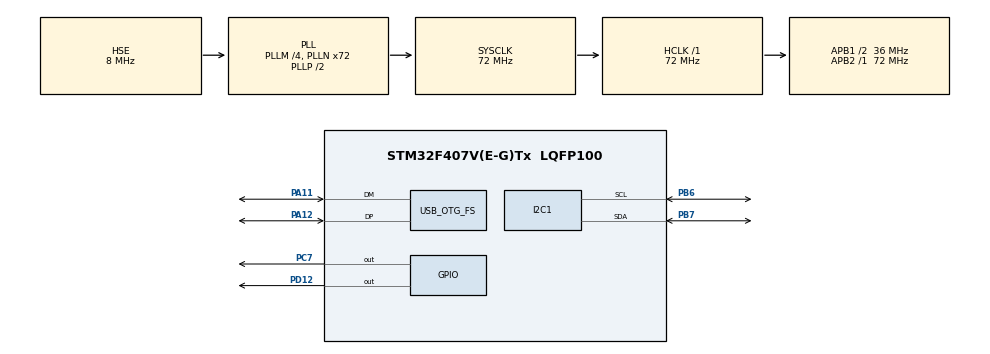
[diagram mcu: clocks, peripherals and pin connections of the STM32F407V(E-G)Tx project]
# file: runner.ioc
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Mcu.Family=STM32F4
Mcu.Name=STM32F407V(E-G)Tx
Mcu.Package=LQFP100
NVIC.OTG_FS_IRQn=true\:0\:0\:false\:false\:true\:false\:true\:true
NVIC.PriorityGroup=NVIC_PRIORITYGROUP_4
PA11.Mode=Device_Only
PA11.Signal=USB_OTG_FS_DM
PA12.Mode=Device_Only
PA12.Signal=USB_OTG_FS_DP
PA13.Mode=Serial_Wire
PA13.Signal=SYS_JTMS-SWDIO
PA14.Mode=Serial_Wire
PA14.Signal=SYS_JTCK-SWCLK
PB6.Mode=I2C
PB6.Signal=I2C1_SCL
PB7.Mode=I2C
PB7.Signal=I2C1_SDA
PC7.GPIO_ModeDefaultOutputPP=GPIO_MODE_OUTPUT_OD
PC7.GPIO_PuPd=GPIO_NOPULL
PC7.PinState=GPIO_PIN_SET
PC7.Signal=GPIO_Output
PD12.Signal=GPIO_Output
PH0-OSC_IN.Mode=HSE-External-Oscillator
PH0-OSC_IN.Signal=RCC_OSC_IN
PH1-OSC_OUT.Mode=HSE-External-Oscillator
PH1-OSC_OUT.Signal=RCC_OSC_OUT
ProjectManager.HeapSize=0x200
ProjectManager.StackSize=0x400
ProjectManager.TargetToolchain=STM32CubeIDE
RCC.48MHZClocksFreq_Value=48000000
RCC.AHBFreq_Value=72000000
RCC.APB1CLKDivider=RCC_HCLK_DIV2
RCC.APB1Freq_Value=36000000
RCC.APB1TimFreq_Value=72000000
RCC.APB2Freq_Value=72000000
RCC.APB2TimFreq_Value=72000000
RCC.CortexFreq_Value=72000000
RCC.HCLKFreq_Value=72000000
RCC.HSE_VALUE=8000000
RCC.HSI_VALUE=16000000
RCC.LSE_VALUE=32768
RCC.PLLM=4
RCC.PLLN=72
RCC.PLLQ=3
RCC.SYSCLKFreq_VALUE=72000000
RCC.SYSCLKSource=RCC_SYSCLKSOURCE_PLLCLK
RCC.VCOOutputFreq_Value=144000000
TIM2.Prescaler=71
TIM4.Prescaler=71
USB_DEVICE.CLASS_NAME_FS=CDC
USB_DEVICE.VirtualMode-CDC_FS=Cdc
USB_DEVICE.VirtualModeFS=Cdc_FS
USB_OTG_FS.VirtualMode=Device_Only
VP_TIM2_VS_ClockSourceINT.Mode=Internal
VP_TIM4_VS_ClockSourceINT.Mode=Internal
VP_USB_DEVICE_VS_USB_DEVICE_CDC_FS.Mode=CDC_FS
board=custom

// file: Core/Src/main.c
/* USER CODE BEGIN Header */
/**
  ******************************************************************************
  * @file           : main.c
  * @brief          : Main program body
  ******************************************************************************
  * @attention
  *
  * Copyright (c) 2026 STMicroelectronics.
  * All rights reserved.
  *
  * This software is licensed under terms that can be found in the LICENSE file
  * in the root directory of this software component.
  * If no LICENSE file comes with this software, it is provided AS-IS.
  *
  ******************************************************************************
  */
/* USER CODE END Header */
#include "main.h"
#include "usb_device.h"

/* USER CODE BEGIN Includes */
#include "usbd_cdc_if.h"

#include "driver_display.h"
#include "driver_display_characters.h"

#include "driver_sensor.h"
/* USER CODE END Includes */

/* USER CODE BEGIN PTD */

typedef enum {
	NAV_MENU,

	NAV_TYPERACER_SETTINGS,
	NAV_TYPERACER_PLAYING,
	NAV_TYPERACER_RESULTS,

	NAV_DINO_PLAYING,
	NAV_DINO_RESULTS,

	NAV_MATH_PLAYING,
	NAV_MATH_RESULTS,

	NAV_SENSOR,
} NavState;

typedef struct {
	bool started;
	bool displayedSelection;
	int gameSelected;
} MenuState;

typedef struct {
	char *name;
	NavState initState;
} MenuGame;

typedef struct {
	bool moving;
	bool overwrite;
	uint8_t text;
} TyperacerSettings;

typedef struct {
	char *text;
	size_t textLength;
	size_t textConsumed;

	int currentShift;
	bool shiftActivated;
	int charactersTyped;
	int hiddenStart;

	bool displayedNewLine;

	int mistakeCount;
} TyperacerState;

typedef struct {
	float speed;

	size_t time_passed;
	size_t time_next;
	size_t time_step;

	size_t time_lastCrouch;
	size_t time_lastJump;
	uint8_t lastState;

	uint16_t pteros;
	uint16_t cacti;

	int pos;
	int frame;
} DinoState;

typedef struct {
	uint8_t task_total;
	uint8_t task_done;
	uint8_t task_correct;

	uint8_t correctAnswer;
	int8_t selection;
	bool displayedTask;
} MathState;

/* USER CODE END PTD */

/* USER CODE BEGIN PD */
extern void initialise_monitor_handles();
/* USER CODE END PD */

/* USER CODE BEGIN PM */

#define min(a, b) ((a) < (b) ? (a) : (b))
#define max(a, b) ((a) > (b) ? (a) : (b))

/* USER CODE END PM */

I2C_HandleTypeDef hi2c1;

TIM_HandleTypeDef htim2;
TIM_HandleTypeDef htim4;

/* USER CODE BEGIN PV */

extern uint8_t CDC_buffer[1024];
extern size_t CDC_index_lo;
extern size_t CDC_index_hi;

/* USER CODE END PV */

void SystemClock_Config(void);
static void MX_GPIO_Init(void);
static void MX_I2C1_Init(void);
static void MX_TIM4_Init(void);
static void MX_TIM2_Init(void);

/* USER CODE BEGIN 0 */

size_t getInputAmount() {
	if(CDC_index_lo <= CDC_index_hi) {
		return (CDC_index_hi - CDC_index_lo);
	}
	else {
		return (sizeof(CDC_buffer) - CDC_index_lo) + (CDC_index_hi);
	}
}

bool tryReadInput(uint8_t *dst, int amount, bool consume) {
	if(getInputAmount() < amount) return false;
	size_t preserve = CDC_index_lo;

	for(int i = 0; i < amount; i++) {
		dst[i] = CDC_buffer[CDC_index_lo];
		CDC_index_lo += 1;

		if(CDC_index_lo >= sizeof(CDC_buffer)) {
			CDC_index_lo = 0;
		}
	}

	if(!consume) {
		CDC_index_lo = preserve;
	}

	return true;
}

/* USER CODE END 0 */

int main(void)
{

  /* MCU Configuration--------------------------------------------------------*/

  /* Reset of all peripherals, Initializes the Flash interface and the Systick. */
  HAL_Init();

  /* USER CODE BEGIN Init */
  //initialise_monitor_handles();
  /* USER CODE END Init */

  /* Configure the system clock */
  SystemClock_Config();

  /* Initialize all configured peripherals */
  MX_GPIO_Init();
  MX_I2C1_Init();
  MX_TIM4_Init();
  MX_USB_DEVICE_Init();
  MX_TIM2_Init();
  /* USER CODE BEGIN 2 */
  HAL_Delay(500);

  Display display = {
		.config = {
		  	.twoLinesInsteadOfOne = true,
		  	.tallFont = false,

		  	.displayOn = true,
		  	.cursorVisible = true,
		  	.cursorBlinking = true,

		  	.incrementInsteadOfDecrement = true,
		  	.shiftOnEntry = false
		 },
		.handle = &hi2c1,
    	.backlight = true,
  };

  display_init(&display);

  Sensor sensor = {
		.gpiox = GPIOC,
		.pin = GPIO_PIN_7,
		.timer = &htim4
  };
  HAL_TIM_Base_Start(sensor.timer);
  HAL_TIM_Base_Start(&htim2);

  NavState navState = NAV_MENU;

  TyperacerSettings settings_tr = {
		  .moving = false,
		  .overwrite = true,
		  .text = 0xff,
  };
  TyperacerState state_tr = {0};
  DinoState state_dino = {0};
  MathState state_math = {0};
  MenuState state_menu = {0};

  display_setCustomGlyph(&display, DISPLAY_CUSTOM_0, DISPLAY_GLYPH(0b10101, 0b01010, 0b10101, 0b01010, 0b10101, 0b01010, 0b10101));

  char *texts[] = {
		  "Once upon a time, a LEGEND was whispered among shadows. "
		  "It was a LEGEND of HOPE. "
		  "It was a LEGEND of DREAMS. "
		  "It was a LEGEND of LIGHT. "
		  "It was a LEGEND of DARK. "
		  "This is the legend of DELTA RUNE.",

		  "Born into a world without anime, "
		  "Where the sun doesn't shine, there's no sanity. "
		  "We are left alone with these killing machines. "
		  "We have no home, we have no dreams. "
		  "Crushed under the weight of the mechanical demon, "
		  "We are victims of fate from the power of semen.",

		  "I think Skyblock at its core is the ultimate challenge in resource management. "
		  "You spawn on a tiny island in an empty universe. "
		  "All you have is a tree, some supplies and some dirt to stand on. "
		  "You have to treasure EVERY dirt block, because if one falls into the void, "
		  "there's no way to replace it and as you carefully navigate your absurd circumstance, "
		  "you gain a new appreciation for the few things you have as you meticulously use them to their fullest effect. "
		  "With nothing but some ice, lava and saplings you slowly transform this empty expanse into a world of your very own. "
		  "Skyblock teaches us that no matter how ridiculous the odds may seem, "
		  "within us resides the power to overcome these challenges and achieve something beautiful. "
		  "That one day, we'll look back at where we started and be amazed "
		  	  "by how far we've come.",

		  "amogus sus sus amogus amogus sus sus amogus",

		  "I've seen your kind, time and time again. "
		  "Every fleeing man must be caught. Every secret must be unearthed. "
		  "Such is the conceit of the self-proclaimed seeker of truth. "
		  "But in the end, you lack the stomach. "
		  "For the agony you'll bring upon yourself...",
  };

  MenuGame games[] = {
		  {
				.name = "Typeracer",
				.initState = NAV_TYPERACER_PLAYING,
		  },
		  {
				.name = "Dinosaur",
				.initState = NAV_DINO_PLAYING,
		  },
		  {
				.name = "Math quiz",
				.initState = NAV_MATH_PLAYING,
		  },
		  {
				.name = "Sensor",
				.initState = NAV_SENSOR,
		  },
  };
  int gameCount = sizeof(games) / sizeof(MenuGame);

  bool firstState = true;

  /* USER CODE END 2 */

  /* Infinite loop */
  /* USER CODE BEGIN WHILE */
  while (1)
  {
	  bool justChangedState = firstState;
	  firstState = false;

#define CHANGE_STATE(state) do { \
		  navState = state; \
		  justChangedState = true; \
		  goto changeState; \
  } while(0)

	  char input;

	  char buffer[256];
	  int len;

	  if(tryReadInput(&input, 1, false) && input == '\e') {
		  CHANGE_STATE(NAV_MENU);
	  }

	  changeState:
	  switch(navState) {
	  case NAV_MENU:
		  if(justChangedState) {
			  display_instruction_displayOnOffControl(&display, true, false, false);
			  state_menu.displayedSelection = false;
		  }

		  if(!state_menu.displayedSelection) {
			  display_instruction_clearDisplay(&display);

			  if(!state_menu.started) {
				  len = sprintf(buffer, "AbobaGameStation");
	  			  display_instruction_setDisplayRamAddress(&display, DISPLAY_LINE_0_MIN);
	  			  display_writeString(&display, buffer, len);
				  len = sprintf(buffer, "<SPACE> TO START");
	  			  display_instruction_setDisplayRamAddress(&display, DISPLAY_LINE_1_MIN);
	  			  display_writeString(&display, buffer, len);
			  }
			  else {
				  len = sprintf(buffer, "%s", games[state_menu.gameSelected]);
	  			  display_instruction_setDisplayRamAddress(&display, DISPLAY_LINE_0_MIN);
	  			  display_writeString(&display, buffer, len);
				  len = sprintf(buffer, "  <    %d/%d   >  ", state_menu.gameSelected + 1, gameCount);
	  			  display_instruction_setDisplayRamAddress(&display, DISPLAY_LINE_1_MIN);
	  			  display_writeString(&display, buffer, len);
			  }

			  state_menu.displayedSelection = true;
		  }

		  if(!tryReadInput((uint8_t *)&input, 1, true)) continue;

		  if(!state_menu.started) {
			  if(input == ' ') {
				  state_menu.started = true;

				  // TODO: animation

				  state_menu.displayedSelection = false;
			  }

			  continue;
		  }

		  if(0){}
		  else if(input == '<') {
			  state_menu.gameSelected -= 1;
			  state_menu.displayedSelection = false;
		  }
		  else if(input == '>') {
			  state_menu.gameSelected += 1;
			  state_menu.displayedSelection = false;
		  }
		  else if(input == ' ') {
			  CHANGE_STATE(games[state_menu.gameSelected].initState);
		  }

		  if(state_menu.gameSelected < 0) {
			  state_menu.gameSelected += gameCount;
		  }
		  else if(state_menu.gameSelected >= gameCount) {
			  state_menu.gameSelected -= gameCount;
		  }
		  break;
	  case NAV_TYPERACER_PLAYING:
  		  if(justChangedState) {
			  srand(__HAL_TIM_GET_COUNTER(&htim2));

  			  if(settings_tr.moving && settings_tr.overwrite) {
  				  settings_tr.overwrite = false;
  			  }

  			 __HAL_TIM_SET_COUNTER(&htim2, 0);

			  display_instruction_displayOnOffControl(&display, true, true, true);
			  display_instruction_entryModeSet(&display, true, false);

  			  state_tr = (TyperacerState){0};

  			  if(settings_tr.text == 0xff) {
  				  state_tr.text = texts[rand() % (sizeof(texts) / sizeof(char *))];
  			  }
  			  else {
  				  state_tr.text = texts[settings_tr.text];
  			  }

  			  state_tr.textLength = strlen(state_tr.text);

  			  if(settings_tr.moving) {
  				  display_instruction_setDisplayRamAddress(&display, DISPLAY_LINE_0_MIN);
  				  display_writeString(&display, state_tr.text, min(state_tr.textLength, DISPLAY_LINE_LEN));
  				  state_tr.textConsumed += min(state_tr.textLength, DISPLAY_LINE_LEN);

  				  display_instruction_setDisplayRamAddress(&display, DISPLAY_LINE_1_MIN);
  			  }
  		  }

  		  if(state_tr.charactersTyped >= state_tr.textLength) {
  			  CHANGE_STATE(NAV_TYPERACER_RESULTS);
  		  }

  		  if(!settings_tr.moving && !state_tr.displayedNewLine) {
  			  state_tr.displayedNewLine = true;

			  display_instruction_clearDisplay(&display);

			  len = sprintf(buffer, "[%-.*s]", DISPLAY_VISIBLE_LINE_LEN - 2, &state_tr.text[state_tr.textConsumed]);
  			  display_instruction_setDisplayRamAddress(&display, DISPLAY_LINE_0_MIN);
  			  display_writeString(&display, buffer, len);

			  state_tr.textConsumed += (DISPLAY_VISIBLE_LINE_LEN - 2);
			  if(state_tr.textConsumed > state_tr.textLength) {
				  state_tr.textConsumed = state_tr.textLength;
			  }

			  len = sprintf(buffer, "[%-*s]", DISPLAY_VISIBLE_LINE_LEN - 2, "");
  			  display_instruction_setDisplayRamAddress(&display, DISPLAY_LINE_1_MIN);
  			  display_writeString(&display, buffer, len);

  			  display_instruction_setDisplayRamAddress(&display, DISPLAY_LINE_1_MIN + 1);
  		  }

		  while(tryReadInput(&input, 1, true)) {
		  		  if(state_tr.charactersTyped == state_tr.textLength) {
		  			  break;
		  		  }

		  		  if(input != state_tr.text[state_tr.charactersTyped]) {
		  			  state_tr.mistakeCount += 1;
		  			  continue;
		  		  }

		  		  display_writeChar(&display, input);
		  		  state_tr.charactersTyped += 1;

		  		  if(settings_tr.moving) {
		  			  if(state_tr.charactersTyped % DISPLAY_LINE_LEN == 0) {
						  display_instruction_setDisplayRamAddress(&display, DISPLAY_LINE_1_MIN);
					  }

					  if(state_tr.shiftActivated) {
						  state_tr.currentShift += 1;
						  state_tr.currentShift %= DISPLAY_LINE_LEN;
					  }

					  if((state_tr.currentShift + DISPLAY_VISIBLE_LINE_LEN) % DISPLAY_LINE_LEN == state_tr.hiddenStart) {
						  int len = DISPLAY_LINE_LEN - DISPLAY_VISIBLE_LINE_LEN;

						  display_instruction_entryModeSet(&display, true, false);

						  {
							  int textRemaining = state_tr.textLength - state_tr.textConsumed;
							  int textLength = min(len, textRemaining);
							  int spaceLength = len - textLength;
							  display_writeStringOnLine(&display, 0, state_tr.hiddenStart, &state_tr.text[state_tr.textConsumed], textLength);
							  state_tr.textConsumed += textLength;
							  int pos = (state_tr.hiddenStart + textLength) % DISPLAY_LINE_LEN;
							  for(int i = 0; i < spaceLength; i++)  {
								  pos = display_writeCharOnLine(&display, 0, pos, ' ', true);
							  }
						  }

						  int pos = state_tr.hiddenStart;
						  display_instruction_setDisplayRamAddress(&display, pos + DISPLAY_LINE_1_MIN);
						  for(int i = 0; i < len; i++)  {
							  pos = display_writeCharOnLine(&display, 1, pos, ' ', true);
						  }

						  display_instruction_setDisplayRamAddress(&display, (state_tr.charactersTyped % DISPLAY_LINE_LEN) + DISPLAY_LINE_1_MIN);

						  display_instruction_entryModeSet(&display, true, state_tr.shiftActivated);
						  state_tr.hiddenStart = state_tr.currentShift;
						  state_tr.hiddenStart %= DISPLAY_LINE_LEN;
					  }

					  if(!state_tr.shiftActivated && state_tr.charactersTyped > 4) {
						  state_tr.shiftActivated = true;

						  display_instruction_entryModeSet(&display, true, state_tr.shiftActivated);
					  }
		  		  }
		  		  else {
#define OVERWRITE_DELAY 2
		  			  if(settings_tr.overwrite && state_tr.textConsumed < state_tr.textLength && state_tr.charactersTyped > OVERWRITE_DELAY) {
		  				  int index = (state_tr.currentShift - OVERWRITE_DELAY + (DISPLAY_VISIBLE_LINE_LEN - 2)) % (DISPLAY_VISIBLE_LINE_LEN - 2);

	  		  			  display_instruction_setDisplayRamAddress(&display, DISPLAY_LINE_0_MIN + 1 + index);
	  		  			  display_writeChar(&display, state_tr.text[state_tr.textConsumed]);
	  		  			  state_tr.textConsumed += 1;

	  		  			  display_instruction_setDisplayRamAddress(&display, DISPLAY_LINE_1_MIN + 2 + state_tr.currentShift);
		  			  }

		  			  state_tr.currentShift += 1;

		  			  if(state_tr.currentShift >= (DISPLAY_VISIBLE_LINE_LEN - 2)) {
		  				  state_tr.currentShift = 0;

		  				  if(!settings_tr.overwrite) {
			  				  state_tr.displayedNewLine = false;
		  				  }
		  				  else {
		  					  len = sprintf(buffer, "[%-*s]", DISPLAY_VISIBLE_LINE_LEN - 2, "");
		  		  			  display_instruction_setDisplayRamAddress(&display, DISPLAY_LINE_1_MIN);
		  		  			  display_writeString(&display, buffer, len);

		  		  			  display_instruction_setDisplayRamAddress(&display, DISPLAY_LINE_1_MIN + 1);
		  				  }
		  			  }
		  		  }

		  	  }
		  break;
	  case NAV_TYPERACER_RESULTS:
		  if(justChangedState) {
			  display_instruction_clearDisplay(&display);
			  display_instruction_entryModeSet(&display, true, false);
			  display_instruction_displayOnOffControl(&display, true, false, false);

			  int time = __HAL_TIM_GET_COUNTER(&htim2);

			  int sec = time / 1000000;
			  int sec_decimal = (time - (sec * 1000000)) / 100000;

			  len = sprintf(buffer, "GG! Time: %d.%ds", sec, sec_decimal);
  			  display_instruction_setDisplayRamAddress(&display, DISPLAY_LINE_0_MIN);
  			  display_writeString(&display, buffer, len);
			  len = sprintf(buffer, "Mistakes: %d", state_tr.mistakeCount);
  			  display_instruction_setDisplayRamAddress(&display, DISPLAY_LINE_1_MIN);
  			  display_writeString(&display, buffer, len);
		  }

		  if(!tryReadInput(&input, 1, true)) continue;

		  if(input == ' ') {
			  CHANGE_STATE(NAV_MENU);
		  }

		  break;

#define DINO_RUNNING_1 0b10110101
#define DINO_RUNNING_2 0b11001000

#define DINO_JUMPING   0b10110110

#define DINO_CROUCHING 0b11011101

#define DINO_CACTUS    0b10110111
#define DINO_PTERO     0b11101010

	  case NAV_DINO_PLAYING:
		  if(justChangedState) {
			  srand(__HAL_TIM_GET_COUNTER(&htim2));

	  		  __HAL_TIM_SET_COUNTER(&htim2, 0);
			  state_dino = (DinoState){
				  .speed = 1,

				  .time_passed = 0,
				  .time_next = 0,
				  .time_step = 1000,

				  .lastState = DINO_RUNNING_1,

				  .pos = 0,
				  .frame = 0,
			  };

			  display_instruction_clearDisplay(&display);
			  display_instruction_entryModeSet(&display, true, false);
			  display_instruction_displayOnOffControl(&display, true, false, false);
		  }

		  size_t time = __HAL_TIM_GET_COUNTER(&htim2) / 1000;

		  bool hasInput = tryReadInput(&input, 1, true);
		  if(hasInput) {
			  if(input == ' ' && (time - state_dino.time_lastJump > 3500) && (time - state_dino.time_lastCrouch > 500)) {
				  state_dino.time_lastJump = time;
			  }
			  else if(input == 'c' &&  (time - state_dino.time_lastJump > 3500)) {
				  state_dino.time_lastCrouch = time;
			  }
		  }

		  if(state_dino.time_next > time) continue;

		  state_dino.frame += 1;

		  state_dino.time_next += state_dino.time_step;

		  display_writeCharOnLine(&display, 0, state_dino.pos, ' ', false);
		  display_writeCharOnLine(&display, 1, state_dino.pos, ' ', false);

		  state_dino.pteros >>= 1;
		  state_dino.cacti >>= 1;

		  if((state_dino.cacti & 0b1000) && state_dino.lastState != DINO_JUMPING) {
			  CHANGE_STATE(NAV_DINO_RESULTS);
		  }

		  if((state_dino.pteros & 0b1000) && state_dino.lastState != DINO_CROUCHING) {
			  CHANGE_STATE(NAV_DINO_RESULTS);
		  }

		  if(time - state_dino.time_lastJump < 3000) {
			  if(state_dino.lastState == DINO_RUNNING_1) {
				  display_writeCharOnLine(&display, 1, state_dino.pos + 3, ' ', false);
			  }

			  state_dino.lastState = DINO_JUMPING;
			  display_writeCharOnLine(&display, 0, state_dino.pos + 3, ' ', false);
			  state_dino.pos = (state_dino.pos + 1) % DISPLAY_LINE_LEN;
			  display_instruction_cursorOrDisplayShift(&display, true, false);
			  display_writeCharOnLine(&display, 0, state_dino.pos + 3, DINO_JUMPING, false);
		  }
		  else if(time - state_dino.time_lastCrouch < 200) {
			  if(state_dino.lastState == DINO_JUMPING) {
				  display_writeCharOnLine(&display, 0, state_dino.pos + 3, ' ', false);
			  }

			  state_dino.lastState = DINO_CROUCHING;
			  display_writeCharOnLine(&display, 1, state_dino.pos + 3, ' ', false);
			  state_dino.pos = (state_dino.pos + 1) % DISPLAY_LINE_LEN;
			  display_instruction_cursorOrDisplayShift(&display, true, false);
			  display_writeCharOnLine(&display, 1, state_dino.pos + 3, DINO_CROUCHING, false);
		  }
		  else {
			  if(state_dino.lastState == DINO_JUMPING) {
				  display_writeCharOnLine(&display, 0, state_dino.pos + 3, ' ', false);
			  }

			  state_dino.lastState = DINO_RUNNING_1;
			  display_writeCharOnLine(&display, 1, state_dino.pos + 3, ' ', false);
			  state_dino.pos = (state_dino.pos + 1) % DISPLAY_LINE_LEN;
			  display_instruction_cursorOrDisplayShift(&display, true, false);
			  display_writeCharOnLine(&display, 1, state_dino.pos + 3, state_dino.frame % 2 == 0 ? DINO_RUNNING_1 : DINO_RUNNING_2, false);
		  }

		  // TODO: this often results in unwinnable situations
		  {
			  bool cactus = (rand() % 100) < 7;
			  if(cactus) {
				  display_writeCharOnLine(&display, 1, state_dino.pos + 15, DINO_CACTUS, false);
				  state_dino.cacti  |= 0b1000000000000000;
			  }

			  bool ptero = (rand() % 100) < 7;
			  if(ptero && !cactus) {
				  display_writeCharOnLine(&display, 0, state_dino.pos + 15, DINO_PTERO, false);
				  state_dino.pteros |= 0b1000000000000000;
			  }
		  }

		  break;

	  case NAV_DINO_RESULTS:
		  if(justChangedState) {
			  display_writeStringOnLine(&display, 0, state_dino.pos + 15 - 4, " GAME", 5);
			  display_writeStringOnLine(&display, 1, state_dino.pos + 15 - 4, " OVER", 5);
		  }

		  if(!tryReadInput(&input, 1, true)) continue;

		  if(input == ' ') {
			  CHANGE_STATE(NAV_MENU);
		  }

		  break;

	  case NAV_MATH_PLAYING:
		  if(justChangedState) {
			  srand(__HAL_TIM_GET_COUNTER(&htim2));

	  		  __HAL_TIM_SET_COUNTER(&htim2, 0);

			  display_instruction_entryModeSet(&display, true, false);
			  display_instruction_displayOnOffControl(&display, true, true, true);

			  state_math = (MathState){
				  .task_total = 5,
			  };
		  }

		  if(state_math.task_done >= state_math.task_total) {
			  CHANGE_STATE(NAV_MATH_RESULTS);
		  }

#define MATH_SUM 0
#define MATH_SUB 1
#define MATH_MUL 2
#define MATH_DIV 3

		  char opChars[4] = "+-*/";

		  if(!state_math.displayedTask) {
			  state_math.displayedTask = true;

			  int op1, op2, a, b, c, x, y;

			  while(true) {
				  op1 = rand() % 4;
				  op2 = rand() % 4;

				  a = rand() % 100;
				  b = rand() % 100;
				  c = rand() % 100;

				  if((op2 / 2) > (op1 / 2)) {
					  switch(op2) {
					  case MATH_SUM: y = b + c; break;
					  case MATH_SUB: y = b - c; break;
					  case MATH_MUL: y = b * c; break;
					  case MATH_DIV: if(c == 0) continue; y = b / c; if(c * y != b) continue; break;
					  }

					  switch(op1) {
					  case MATH_SUM: x = a + y; break;
					  case MATH_SUB: x = a - y; break;
					  case MATH_MUL: x = a * y; break;
					  case MATH_DIV: if(y == 0) continue; x = a / y; if(y * x != a) continue; break;
					  }
				  }
				  else {
					  switch(op1) {
					  case MATH_SUM: y = a + b; break;
					  case MATH_SUB: y = a - b; break;
					  case MATH_MUL: y = a * b; break;
					  case MATH_DIV: if(b == 0) continue; y = a / b; if(b * y != a) continue; break;
					  }

					  switch(op2) {
					  case MATH_SUM: x = y + c; break;
					  case MATH_SUB: x = y - c; break;
					  case MATH_MUL: x = y * c; break;
					  case MATH_DIV: if(c == 0) continue; x = y / c; if(c * x != y) continue; break;
					  }
				  }

				  if(x < 0) continue;
				  if(x < 1000) break;
			  }

			  display_instruction_clearDisplay(&display);

			  len = sprintf(buffer, "%d. %d %c %d %c %d", state_math.task_done + 1, a, opChars[op1], b, opChars[op2], c);
  			  display_instruction_setDisplayRamAddress(&display, DISPLAY_LINE_0_MIN);
  			  display_writeString(&display, buffer, len);

  			  state_math.correctAnswer = rand() % 4;
  			  int answers[4] = {0};
  			  answers[state_math.correctAnswer] = x;

  			  for(int i = 0; i < 4; i++) {
  				  if(i == state_math.correctAnswer) {
  					  len = sprintf(buffer, "%d", x);
  		  			  display_instruction_setDisplayRamAddress(&display, DISPLAY_LINE_1_MIN + i * 4);
  		  			  display_writeString(&display, buffer, len);
  		  			  continue;
  				  }

  				  while(true) {
  					  loopmath:
  					  y = x + ((rand() % 150) - 75);
  					  if(y == x) continue;
  					  if(y >= 1000) continue;
  					  if(y < 0) continue;
  					  for(int j = 0; j < i; j++) {
  						  if(answers[j] == y) goto loopmath;
  					  }

  					  answers[i] = y;

  					  len = sprintf(buffer, "%d", y);
  		  			  display_instruction_setDisplayRamAddress(&display, DISPLAY_LINE_1_MIN + i * 4);
  		  			  display_writeString(&display, buffer, len);

  		  			  break;
  				  }
  			  }

  			  display_instruction_setDisplayRamAddress(&display, DISPLAY_LINE_1_MIN);
  			  state_math.selection = 0;
		  }

		  if(!tryReadInput(&input, 1, true)) continue;

		  if(input == ' ') {
			  state_math.displayedTask = false;

			  state_math.task_done += 1;
			  state_math.task_correct += (state_math.correctAnswer == state_math.selection);
		  }
		  else if(input == '<') {
			  state_math.selection -= 1;
		  }
		  else if(input == '>') {
			  state_math.selection += 1;
		  }

		  if(state_math.selection < 0) state_math.selection += 4;
		  if(state_math.selection >= 4) state_math.selection -= 4;

		  display_instruction_setDisplayRamAddress(&display, DISPLAY_LINE_1_MIN + state_math.selection * 4);

		  break;

	  case NAV_MATH_RESULTS:
		  if(justChangedState) {
			  display_instruction_clearDisplay(&display);
			  display_instruction_entryModeSet(&display, true, false);
			  display_instruction_displayOnOffControl(&display, true, false, false);

			  int time = __HAL_TIM_GET_COUNTER(&htim2);

			  int sec = time / 1000000;
			  int sec_decimal = (time - (sec * 1000000)) / 100000;

			  len = sprintf(buffer, "GG! Time: %d.%ds", sec, sec_decimal);
  			  display_instruction_setDisplayRamAddress(&display, DISPLAY_LINE_0_MIN);
  			  display_writeString(&display, buffer, len);
			  len = sprintf(buffer, "Correct: %d/%d", state_math.task_correct, state_math.task_total);
  			  display_instruction_setDisplayRamAddress(&display, DISPLAY_LINE_1_MIN);
  			  display_writeString(&display, buffer, len);
		  }

		  if(!tryReadInput(&input, 1, true)) continue;

		  if(input == ' ') {
			  CHANGE_STATE(NAV_MENU);
		  }
		  break;

	  case NAV_SENSOR:
		  if(justChangedState) {
			  display_instruction_clearDisplay(&display);
			  display_instruction_entryModeSet(&display, true, false);
			  display_instruction_displayOnOffControl(&display, true, false, false);

			  __HAL_TIM_SET_COUNTER(&htim2, 5000000);

		  }

		  time = __HAL_TIM_GET_COUNTER(&htim2);

		  if(time >= 2000000) {
			  __HAL_TIM_SET_COUNTER(&htim2, 0);

			  int sec = time / 1000000;
			  int sec_decimal = (time - (sec * 1000000)) / 100000;

			  SensorData data;
			  sensor_read(&sensor, &data);
			  len = sprintf(buffer, "Humidity: %d%%", data.rh_integral);
  			  display_instruction_setDisplayRamAddress(&display, DISPLAY_LINE_0_MIN);
  			  display_writeString(&display, buffer, len);
			  len = sprintf(buffer, "Temperature: %dC", data.t_integral);
  			  display_instruction_setDisplayRamAddress(&display, DISPLAY_LINE_1_MIN);
  			  display_writeString(&display, buffer, len);
		  }

		  if(!tryReadInput(&input, 1, true)) continue;

		  if(input == ' ') {
			  CHANGE_STATE(NAV_MENU);
		  }
		  break;
	  }

    /* USER CODE END WHILE */

  }
}

void SystemClock_Config(void)
{
  RCC_OscInitTypeDef RCC_OscInitStruct = {0};
  RCC_ClkInitTypeDef RCC_ClkInitStruct = {0};

  /** Configure the main internal regulator output voltage
  */
  __HAL_RCC_PWR_CLK_ENABLE();
  __HAL_PWR_VOLTAGESCALING_CONFIG(PWR_REGULATOR_VOLTAGE_SCALE1);

  /** Initializes the RCC Oscillators according to the specified parameters
  * in the RCC_OscInitTypeDef structure.
  */
  RCC_OscInitStruct.OscillatorType = RCC_OSCILLATORTYPE_HSE;
  RCC_OscInitStruct.HSEState = RCC_HSE_ON;
  RCC_OscInitStruct.PLL.PLLState = RCC_PLL_ON;
  RCC_OscInitStruct.PLL.PLLSource = RCC_PLLSOURCE_HSE;
  RCC_OscInitStruct.PLL.PLLM = 4;
  RCC_OscInitStruct.PLL.PLLN = 72;
  RCC_OscInitStruct.PLL.PLLP = RCC_PLLP_DIV2;
  RCC_OscInitStruct.PLL.PLLQ = 3;
  if (HAL_RCC_OscConfig(&RCC_OscInitStruct) != HAL_OK)
  {
    Error_Handler();
  }

  /** Initializes the CPU, AHB and APB buses clocks
  */
  RCC_ClkInitStruct.ClockType = RCC_CLOCKTYPE_HCLK|RCC_CLOCKTYPE_SYSCLK
                              |RCC_CLOCKTYPE_PCLK1|RCC_CLOCKTYPE_PCLK2;
  RCC_ClkInitStruct.SYSCLKSource = RCC_SYSCLKSOURCE_PLLCLK;
  RCC_ClkInitStruct.AHBCLKDivider = RCC_SYSCLK_DIV1;
  RCC_ClkInitStruct.APB1CLKDivider = RCC_HCLK_DIV2;
  RCC_ClkInitStruct.APB2CLKDivider = RCC_HCLK_DIV1;

  if (HAL_RCC_ClockConfig(&RCC_ClkInitStruct, FLASH_LATENCY_2) != HAL_OK)
  {
    Error_Handler();
  }
}

static void MX_I2C1_Init(void)
{

  hi2c1.Instance = I2C1;
  hi2c1.Init.ClockSpeed = 100000;
  hi2c1.Init.DutyCycle = I2C_DUTYCYCLE_2;
  hi2c1.Init.OwnAddress1 = 0;
  hi2c1.Init.AddressingMode = I2C_ADDRESSINGMODE_7BIT;
  hi2c1.Init.DualAddressMode = I2C_DUALADDRESS_DISABLE;
  hi2c1.Init.OwnAddress2 = 0;
  hi2c1.Init.GeneralCallMode = I2C_GENERALCALL_DISABLE;
  hi2c1.Init.NoStretchMode = I2C_NOSTRETCH_DISABLE;
  if (HAL_I2C_Init(&hi2c1) != HAL_OK)
  {
    Error_Handler();
  }

}

static void MX_TIM2_Init(void)
{

  TIM_ClockConfigTypeDef sClockSourceConfig = {0};
  TIM_MasterConfigTypeDef sMasterConfig = {0};

  htim2.Instance = TIM2;
  htim2.Init.Prescaler = 71;
  htim2.Init.CounterMode = TIM_COUNTERMODE_UP;
  htim2.Init.Period = 4294967295;
  htim2.Init.ClockDivision = TIM_CLOCKDIVISION_DIV1;
  htim2.Init.AutoReloadPreload = TIM_AUTORELOAD_PRELOAD_DISABLE;
  if (HAL_TIM_Base_Init(&htim2) != HAL_OK)
  {
    Error_Handler();
  }
  sClockSourceConfig.ClockSource = TIM_CLOCKSOURCE_INTERNAL;
  if (HAL_TIM_ConfigClockSource(&htim2, &sClockSourceConfig) != HAL_OK)
  {
    Error_Handler();
  }
  sMasterConfig.MasterOutputTrigger = TIM_TRGO_RESET;
  sMasterConfig.MasterSlaveMode = TIM_MASTERSLAVEMODE_DISABLE;
  if (HAL_TIMEx_MasterConfigSynchronization(&htim2, &sMasterConfig) != HAL_OK)
  {
    Error_Handler();
  }

}

static void MX_TIM4_Init(void)
{

  TIM_ClockConfigTypeDef sClockSourceConfig = {0};
  TIM_MasterConfigTypeDef sMasterConfig = {0};

  htim4.Instance = TIM4;
  htim4.Init.Prescaler = 71;
  htim4.Init.CounterMode = TIM_COUNTERMODE_UP;
  htim4.Init.Period = 65535;
  htim4.Init.ClockDivision = TIM_CLOCKDIVISION_DIV1;
  htim4.Init.AutoReloadPreload = TIM_AUTORELOAD_PRELOAD_DISABLE;
  if (HAL_TIM_Base_Init(&htim4) != HAL_OK)
  {
    Error_Handler();
  }
  sClockSourceConfig.ClockSource = TIM_CLOCKSOURCE_INTERNAL;
  if (HAL_TIM_ConfigClockSource(&htim4, &sClockSourceConfig) != HAL_OK)
  {
    Error_Handler();
  }
  sMasterConfig.MasterOutputTrigger = TIM_TRGO_RESET;
  sMasterConfig.MasterSlaveMode = TIM_MASTERSLAVEMODE_DISABLE;
  if (HAL_TIMEx_MasterConfigSynchronization(&htim4, &sMasterConfig) != HAL_OK)
  {
    Error_Handler();
  }

}

static void MX_GPIO_Init(void)
{
  GPIO_InitTypeDef GPIO_InitStruct = {0};

  /* GPIO Ports Clock Enable */
  __HAL_RCC_GPIOH_CLK_ENABLE();
  __HAL_RCC_GPIOD_CLK_ENABLE();
  __HAL_RCC_GPIOC_CLK_ENABLE();
  __HAL_RCC_GPIOA_CLK_ENABLE();
  __HAL_RCC_GPIOB_CLK_ENABLE();

  /*Configure GPIO pin Output Level */
  HAL_GPIO_WritePin(GPIOD, GPIO_PIN_12, GPIO_PIN_RESET);

  /*Configure GPIO pin Output Level */
  HAL_GPIO_WritePin(GPIOC, GPIO_PIN_7, GPIO_PIN_SET);

  /*Configure GPIO pin : PD12 */
  GPIO_InitStruct.Pin = GPIO_PIN_12;
  GPIO_InitStruct.Mode = GPIO_MODE_OUTPUT_PP;
  GPIO_InitStruct.Pull = GPIO_NOPULL;
  GPIO_InitStruct.Speed = GPIO_SPEED_FREQ_LOW;
  HAL_GPIO_Init(GPIOD, &GPIO_InitStruct);

  /*Configure GPIO pin : PC7 */
  GPIO_InitStruct.Pin = GPIO_PIN_7;
  GPIO_InitStruct.Mode = GPIO_MODE_OUTPUT_OD;
  GPIO_InitStruct.Pull = GPIO_NOPULL;
  GPIO_InitStruct.Speed = GPIO_SPEED_FREQ_LOW;
  HAL_GPIO_Init(GPIOC, &GPIO_InitStruct);

}

void Error_Handler(void)
{
  __disable_irq();
  while (1)
  {
  }
}
